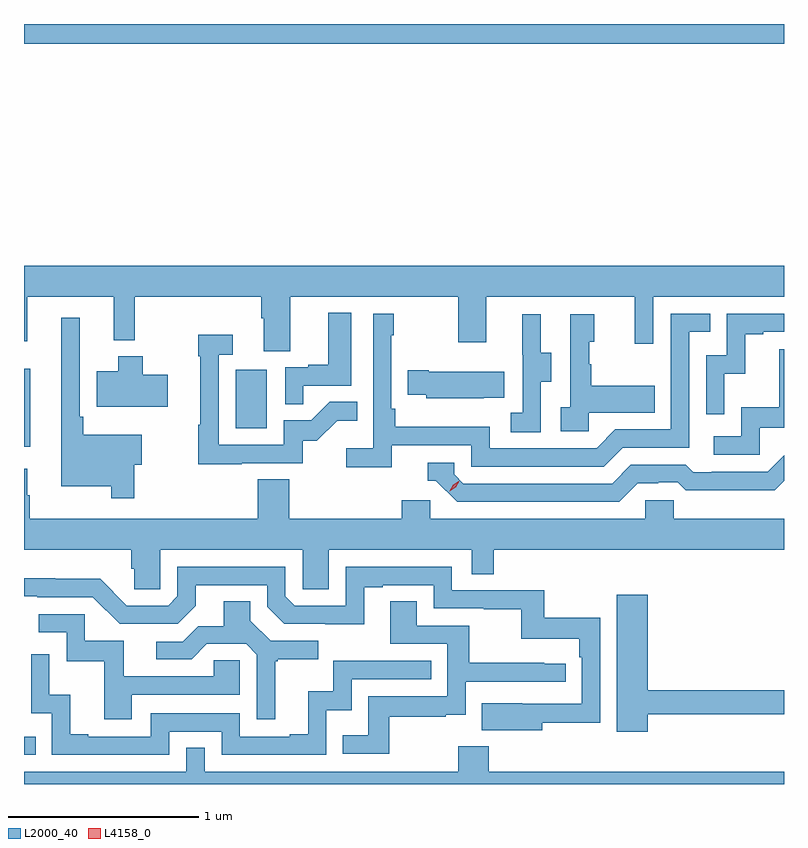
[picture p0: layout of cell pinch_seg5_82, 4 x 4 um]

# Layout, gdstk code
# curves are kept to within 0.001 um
import gdstk
lib = gdstk.Library(unit=1e-6, precision=1e-09)
def R(c, l, rs):  # rectangles x0, y0, x1, y1
    for r in rs: c.add(gdstk.rectangle(r[:2], r[2:], *l))
def P(c, l, *ps):  # polygons
    for p in ps: c.add(gdstk.Polygon(p, *l))
L2000_40 = (2000, 40)
L4158_0 = (4158, 0)

pinch_seg5_82 = lib.new_cell('pinch_seg5_82')
R(pinch_seg5_82, L2000_40, [(1033.114,896.973,1033.175,897.069), (1033.114,898.595,1033.147,899.005), (1034.228,898.692,1034.392,898.999), (1033.114,900.716,1037.114,900.82)])
P(pinch_seg5_82, L2000_40, [(1034.515,899.384),(1035.4,899.384),(1035.4,899.145),(1035.547,899.145),(1035.547,899.384),(1036.328,899.384),(1036.328,899.136),(1036.425,899.136),(1036.425,899.384),(1037.114,899.384),(1037.114,899.548),(1033.114,899.548),(1033.114,899.151),(1033.132,899.151),(1033.132,899.384),(1033.586,899.384),(1033.586,899.156),(1033.696,899.156),(1033.696,899.384),(1034.363,899.384),(1034.363,899.272),(1034.375,899.272),(1034.375,899.098),(1034.515,899.098)],
  [(1034.585,898.917),(1034.836,898.917),(1034.836,899.299),(1034.714,899.299),(1034.714,899.026),(1034.611,899.026),(1034.611,899.013),(1034.49,899.013),(1034.49,898.819),(1034.585,898.819)],
  [(1035.05,898.602),(1035.468,898.602),(1035.468,898.491),(1036.165,898.491),(1036.264,898.59),(1036.614,898.59),(1036.614,899.199),(1036.727,899.199),(1036.727,899.295),(1036.518,899.295),(1036.518,898.686),(1036.227,898.686),(1036.128,898.587),(1035.564,898.587),(1035.564,898.699),(1035.068,898.699),(1035.068,898.795),(1035.048,898.795),(1035.048,899.183),(1035.061,899.183),(1035.061,899.296),(1034.952,899.296),(1034.952,898.588),(1034.811,898.588),(1034.811,898.486),(1035.05,898.486)],
  [(1036.8,898.979),(1036.91,898.979),(1036.91,899.187),(1037.005,899.187),(1037.005,899.199),(1037.114,899.199),(1037.114,899.295),(1036.812,899.295),(1036.812,899.076),(1036.704,899.076),(1036.704,898.767),(1036.8,898.767)],
  [(1036.086,898.775),(1036.433,898.775),(1036.433,898.915),(1036.099,898.915),(1036.099,899.03),(1036.089,899.03),(1036.089,899.148),(1036.114,899.148),(1036.114,899.293),(1035.99,899.293),(1035.99,898.802),(1035.939,898.802),(1035.939,898.677),(1036.086,898.677)],
  [(1035.834,898.936),(1035.889,898.936),(1035.889,899.091),(1035.835,899.091),(1035.835,899.293),(1035.737,899.293),(1035.737,899.079),(1035.738,899.079),(1035.738,898.775),(1035.675,898.775),(1035.675,898.672),(1035.834,898.672)],
  [(1033.693,898.499),(1033.735,898.499),(1033.735,898.657),(1033.427,898.657),(1033.427,898.753),(1033.407,898.753),(1033.407,899.275),(1033.31,899.275),(1033.31,898.388),(1033.572,898.388),(1033.572,898.323),(1033.693,898.323)],
  [(1034.261,898.509),(1034.58,898.509),(1034.58,898.626),(1034.656,898.626),(1034.763,898.733),(1034.867,898.733),(1034.867,898.832),(1034.724,898.832),(1034.626,898.734),(1034.481,898.734),(1034.481,898.605),(1034.139,898.605),(1034.139,899.079),(1034.212,899.079),(1034.212,899.185),(1034.031,899.185),(1034.031,899.072),(1034.042,899.072),(1034.042,898.712),(1034.031,898.712),(1034.031,898.504),(1034.261,898.504)],
  [(1036.986,898.695),(1037.114,898.695),(1037.114,899.107),(1037.089,899.107),(1037.089,898.804),(1036.89,898.804),(1036.89,898.65),(1036.743,898.65),(1036.743,898.554),(1036.986,898.554)],
  [(1033.87,898.974),(1033.74,898.974),(1033.74,899.071),(1033.61,899.071),(1033.61,898.993),(1033.496,898.993),(1033.496,898.805),(1033.87,898.805)],
  [(1035.533,898.853),(1035.641,898.853),(1035.641,898.99),(1035.244,898.99),(1035.244,898.998),(1035.133,898.998),(1035.133,898.868),(1035.231,898.868),(1035.231,898.85),(1035.533,898.85)],
  [(1036.345,898.404),(1036.452,898.404),(1036.452,898.407),(1036.555,898.407),(1036.597,898.365),(1036.83,898.365),(1036.83,898.367),(1037.066,898.367),(1037.114,898.415),(1037.114,898.55),(1037.028,898.464),(1036.735,898.464),(1036.735,898.461),(1036.636,898.461),(1036.597,898.5),(1036.308,898.5),(1036.209,898.401),(1035.426,898.401),(1035.378,898.449),(1035.378,898.512),(1035.239,898.512),(1035.239,898.416),(1035.282,898.416),(1035.393,898.305),(1036.246,898.305)],
  [(1033.83,898.052),(1034.58,898.052),(1034.58,897.844),(1034.719,897.844),(1034.719,898.052),(1035.471,898.052),(1035.471,897.925),(1035.587,897.925),(1035.587,898.052),(1037.114,898.052),(1037.114,898.216),(1036.533,898.216),(1036.533,898.314),(1036.383,898.314),(1036.383,898.216),(1035.252,898.216),(1035.252,898.314),(1035.101,898.314),(1035.101,898.216),(1034.51,898.216),(1034.51,898.424),(1034.345,898.424),(1034.345,898.216),(1033.144,898.216),(1033.144,898.34),(1033.132,898.34),(1033.132,898.48),(1033.114,898.48),(1033.114,898.052),(1033.679,898.052),(1033.679,897.954),(1033.693,897.954),(1033.693,897.844),(1033.83,897.844)],
  [(1035.841,897.142),(1036.146,897.142),(1036.146,897.694),(1035.853,897.694),(1035.853,897.84),(1035.366,897.84),(1035.366,897.963),(1034.808,897.963),(1034.808,897.759),(1034.538,897.759),(1034.49,897.807),(1034.49,897.963),(1033.92,897.963),(1033.92,897.807),(1033.872,897.759),(1033.656,897.759),(1033.514,897.901),(1033.278,897.901),(1033.278,897.904),(1033.114,897.904),(1033.114,897.807),(1033.183,897.807),(1033.183,897.804),(1033.476,897.804),(1033.617,897.663),(1033.923,897.663),(1034.017,897.757),(1034.017,897.867),(1034.394,897.867),(1034.394,897.753),(1034.484,897.663),(1034.905,897.662),(1034.905,897.855),(1035.001,897.855),(1035.001,897.867),(1035.27,897.867),(1035.27,897.744),(1035.535,897.744),(1035.535,897.739),(1035.732,897.739),(1035.732,897.584),(1036.037,897.584),(1036.037,897.488),(1036.05,897.488),(1036.05,897.243),(1035.523,897.244),(1035.523,897.104),(1035.841,897.104)],
  [(1036.396,897.186),(1037.114,897.186),(1037.114,897.314),(1036.396,897.314),(1036.396,897.817),(1036.235,897.817),(1036.235,897.096),(1036.396,897.096)],
  [(1034.437,897.465),(1034.449,897.465),(1034.449,897.476),(1034.662,897.476),(1034.662,897.573),(1034.412,897.573),(1034.305,897.68),(1034.305,897.782),(1034.165,897.782),(1034.165,897.65),(1034.03,897.65),(1033.95,897.57),(1033.809,897.57),(1033.809,897.477),(1033.996,897.477),(1034.077,897.558),(1034.283,897.558),(1034.34,897.501),(1034.34,897.162),(1034.437,897.162)],
  [(1035.037,897.174),(1035.335,897.174),(1035.335,897.185),(1035.438,897.185),(1035.438,897.357),(1035.964,897.357),(1035.964,897.453),(1035.851,897.453),(1035.851,897.458),(1035.458,897.458),(1035.458,897.654),(1035.181,897.654),(1035.181,897.782),(1035.041,897.782),(1035.041,897.558),(1035.342,897.558),(1035.342,897.282),(1034.926,897.282),(1034.926,897.076),(1034.791,897.076),(1034.791,896.979),(1035.037,896.979)],
  [(1033.681,897.291),(1034.25,897.291),(1034.25,897.471),(1034.113,897.471),(1034.113,897.387),(1033.639,897.387),(1033.639,897.573),(1033.434,897.573),(1033.434,897.714),(1033.191,897.714),(1033.191,897.618),(1033.338,897.618),(1033.338,897.465),(1033.537,897.465),(1033.537,897.162),(1033.681,897.162)],
  [(1033.878,897.096),(1034.154,897.096),(1034.154,896.973),(1034.706,896.973),(1034.706,897.209),(1034.838,897.209),(1034.838,897.372),(1035.257,897.372),(1035.257,897.468),(1034.742,897.468),(1034.742,897.307),(1034.609,897.307),(1034.609,897.082),(1034.513,897.082),(1034.513,897.069),(1034.25,897.069),(1034.25,897.192),(1033.782,897.192),(1033.782,897.069),(1033.453,897.069),(1033.453,897.082),(1033.358,897.082),(1033.358,897.29),(1033.248,897.29),(1033.248,897.502),(1033.152,897.502),(1033.152,897.192),(1033.26,897.192),(1033.26,896.973),(1033.878,896.973)],
  [(1037.114,896.884),(1035.56,896.884),(1035.56,897.019),(1035.4,897.019),(1035.4,896.884),(1034.064,896.884),(1034.064,897.011),(1033.968,897.011),(1033.968,896.884),(1033.114,896.884),(1033.114,896.82),(1037.114,896.82)])
P(pinch_seg5_82, L4158_0, [(1035.355,898.362),(1035.355,898.363),(1035.372,898.395),(1035.403,898.414),(1035.404,898.414),(1035.404,898.413),(1035.387,898.381),(1035.356,898.362)])

lib.write_gds('pinch_seg5_82.gds')
